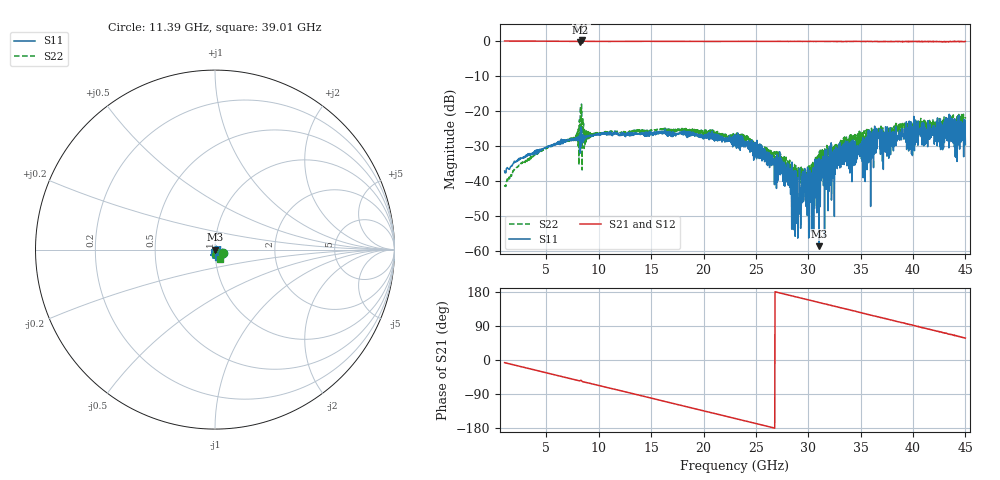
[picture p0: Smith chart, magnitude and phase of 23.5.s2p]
!Keysight Technologies,N5247B,MY61255062,A.19.80.06
!Date: Tuesday, May 26, 2026 12:01:14
!Correction: S11(C  2-Port  )
!S21(C  2-Port  )
!S12(C  2-Port  )
!S22(C  2-Port  )
!S2P File: Measurements: S11, S21, S12, S22:
# Hz S  dB  R 50
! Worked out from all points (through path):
!   1601 points, 1 GHz to 45 GHz, reference 50 ohm
!   highest |S21| = 0.08 dB at 8.342 GHz (marker M1); lowest = -0.4 dB at 8.205 GHz (marker M2)
!   group delay of S21, straight-line fit = 18.6 ps
!   lowest |S11| = -58.6 dB at 31.03 GHz (marker M3), VSWR 1.00, Z = 49.9 - j0.0446 ohm
!   |S11| at or under -10 dB: start of sweep to end of sweep
!   |S22| runs from -42.1 to -18.1 dB; largest |S21 - S12| = 0.018
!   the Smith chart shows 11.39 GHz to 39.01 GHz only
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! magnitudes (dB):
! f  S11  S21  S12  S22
! 1 GHz  -37.2  -0.1  -0.1  -41.2
! 2.595 GHz  -33.5  -0.1  -0.1  -35.0
! 7.875 GHz  -27.7  -0.2  -0.2  -26.6
! 8.205 GHz  -26.8  -0.4  -0.4  -25.8
! 8.342 GHz  -25.3  0.1  0.1  -18.1
! 8.617 GHz  -28.1  -0.1  -0.1  -25.0
! 15.69 GHz  -26.6  -0.2  -0.2  -25.3
! 23 GHz  -26.7  -0.2  -0.2  -26.7
! 27.37 GHz  -36.7  -0.2  -0.2  -34.8
! 28.06 GHz  -37.9  -0.2  -0.2  -35.9
! 28.91 GHz  -42.3  -0.2  -0.2  -38.0
! 29.55 GHz  -45.8  -0.2  -0.2  -39.7
! 30.12 GHz  -41.9  -0.2  -0.2  -40.5
! 30.34 GHz  -44.1  -0.2  -0.2  -34.9
! 31.03 GHz  -58.6  -0.2  -0.2  -35.8
! 31.28 GHz  -39.1  -0.2  -0.2  -35.9
! 32.1 GHz  -31.6  -0.2  -0.2  -32.4
! 32.82 GHz  -35.5  -0.2  -0.2  -31.0
! 33.53 GHz  -34.5  -0.2  -0.2  -28.6
! 37.69 GHz  -33.5  -0.2  -0.2  -26.3
! 43.68 GHz  -28.7  -0.3  -0.3  -22.1
! 45 GHz  -29.7  -0.2  -0.3  -21.8
